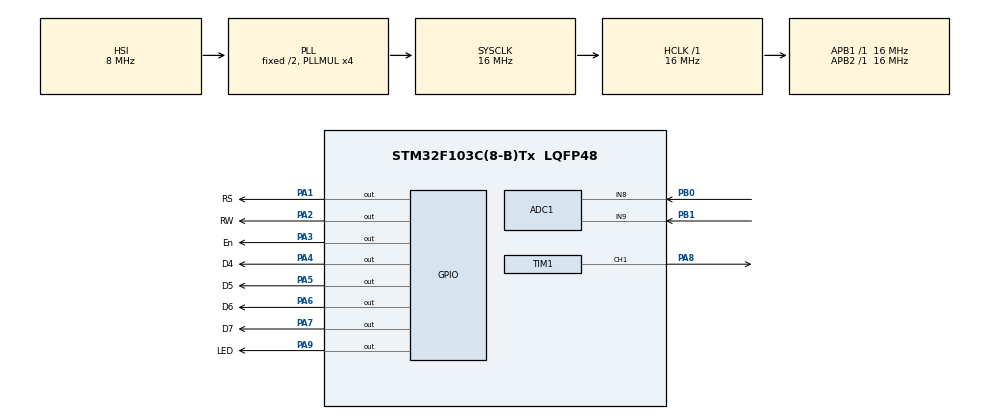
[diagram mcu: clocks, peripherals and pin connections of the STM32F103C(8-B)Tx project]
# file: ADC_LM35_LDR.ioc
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ADC1.Channel-0\#ChannelRegularConversion=ADC_CHANNEL_8
ADC1.Channel-1\#ChannelRegularConversion=ADC_CHANNEL_9
ADC1.ExternalTrigConv=ADC_EXTERNALTRIGCONV_T1_CC1
ADC1.NbrOfConversion=2
ADC1.NbrOfConversionFlag=1
ADC1.Rank-0\#ChannelRegularConversion=1
ADC1.Rank-1\#ChannelRegularConversion=2
ADC1.SamplingTime-0\#ChannelRegularConversion=ADC_SAMPLETIME_71CYCLES_5
ADC1.SamplingTime-1\#ChannelRegularConversion=ADC_SAMPLETIME_239CYCLES_5
ADC1.master=1
Dma.ADC1.0.Direction=DMA_PERIPH_TO_MEMORY
Dma.ADC1.0.Instance=DMA1_Channel1
Dma.ADC1.0.MemDataAlignment=DMA_MDATAALIGN_HALFWORD
Dma.ADC1.0.MemInc=DMA_MINC_ENABLE
Dma.ADC1.0.Mode=DMA_CIRCULAR
Dma.ADC1.0.PeriphDataAlignment=DMA_PDATAALIGN_HALFWORD
Dma.ADC1.0.PeriphInc=DMA_PINC_DISABLE
Dma.ADC1.0.Priority=DMA_PRIORITY_LOW
Dma.Request0=ADC1
Mcu.Family=STM32F1
Mcu.Name=STM32F103C(8-B)Tx
Mcu.Package=LQFP48
NVIC.DMA1_Channel1_IRQn=true\:0\:0\:false\:false\:true\:false\:true\:true
NVIC.PriorityGroup=NVIC_PRIORITYGROUP_4
NVIC.TIM3_IRQn=true\:0\:0\:false\:false\:true\:true\:true\:true
PA1.GPIO_Label=RS
PA1.Signal=GPIO_Output
PA13.Mode=Serial_Wire
PA13.Signal=SYS_JTMS-SWDIO
PA14.Mode=Serial_Wire
PA14.Signal=SYS_JTCK-SWCLK
PA2.GPIO_Label=RW
PA2.Signal=GPIO_Output
PA3.GPIO_Label=En
PA3.Signal=GPIO_Output
PA4.GPIO_Label=D4
PA4.Signal=GPIO_Output
PA5.GPIO_Label=D5
PA5.Signal=GPIO_Output
PA6.GPIO_Label=D6
PA6.Signal=GPIO_Output
PA7.GPIO_Label=D7
PA7.Signal=GPIO_Output
PA8.Signal=S_TIM1_CH1
PA9.GPIO_Label=LED
PA9.Signal=GPIO_Output
PB0.Signal=ADCx_IN8
PB1.Signal=ADCx_IN9
PD0-OSC_IN.Mode=HSE-External-Oscillator
PD0-OSC_IN.Signal=RCC_OSC_IN
PD1-OSC_OUT.Mode=HSE-External-Oscillator
PD1-OSC_OUT.Signal=RCC_OSC_OUT
ProjectManager.HeapSize=0x200
ProjectManager.StackSize=0x400
ProjectManager.TargetToolchain=STM32CubeIDE
RCC.AHBFreq_Value=16000000
RCC.APB1Freq_Value=16000000
RCC.APB1TimFreq_Value=16000000
RCC.APB2Freq_Value=16000000
RCC.APB2TimFreq_Value=16000000
RCC.HCLKFreq_Value=16000000
RCC.PLLMUL=RCC_PLL_MUL4
RCC.SYSCLKFreq_VALUE=16000000
RCC.SYSCLKSource=RCC_SYSCLKSOURCE_PLLCLK
RCC.USBFreq_Value=16000000
SH.ADCx_IN8.0=ADC1_IN8,IN8
SH.ADCx_IN9.0=ADC1_IN9,IN9
SH.S_TIM1_CH1.0=TIM1_CH1,PWM Generation1 CH1
TIM1.Channel-PWM\ Generation1\ CH1=TIM_CHANNEL_1
TIM1.Period=100-1
TIM1.Prescaler=16000-1
TIM1.Pulse-PWM\ Generation1\ CH1=100/2
TIM2.Prescaler=16-1
TIM3.Period=1000-1
TIM3.Prescaler=16000-1
VP_TIM2_VS_ClockSourceINT.Mode=Internal
VP_TIM3_VS_ClockSourceINT.Mode=Internal
board=custom

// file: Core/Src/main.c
/* USER CODE BEGIN Header */
/**
  ******************************************************************************
  * @file           : main.c
  * @brief          : Main program body
  ******************************************************************************
  * @attention
  *
  * Copyright (c) 2025 STMicroelectronics.
  * All rights reserved.
  *
  * This software is licensed under terms that can be found in the LICENSE file
  * in the root directory of this software component.
  * If no LICENSE file comes with this software, it is provided AS-IS.
  *
  ******************************************************************************
  */
/* USER CODE END Header */
#include "main.h"

/* USER CODE BEGIN Includes */
#include <LCD16x2.h>
#include <stdio.h>		//for sprintf function
/* USER CODE END Includes */

ADC_HandleTypeDef hadc1;
DMA_HandleTypeDef hdma_adc1;

TIM_HandleTypeDef htim1;
TIM_HandleTypeDef htim2;
TIM_HandleTypeDef htim3;

/* USER CODE BEGIN PV */
	uint16_t RawValue[2];		//store ADC Raw numbers
	uint16_t ADC_Voltage[2];	//store ADC values converted to voltage
	uint16_t temprature;		//lm35 value in °C
	uint16_t LDR;				//LDR value

	uint8_t flag1sec = 0;		//flag for 1 second elapse

	char buffer[16];			//buffer for sending to LCD
/* USER CODE END PV */

void SystemClock_Config(void);
static void MX_GPIO_Init(void);
static void MX_DMA_Init(void);
static void MX_ADC1_Init(void);
static void MX_TIM1_Init(void);
static void MX_TIM2_Init(void);
static void MX_TIM3_Init(void);

int main(void)
{

  /* MCU Configuration--------------------------------------------------------*/

  /* Reset of all peripherals, Initializes the Flash interface and the Systick. */
  HAL_Init();

  /* Configure the system clock */
  SystemClock_Config();

  /* Initialize all configured peripherals */
  MX_GPIO_Init();
  MX_DMA_Init();
  MX_ADC1_Init();
  MX_TIM1_Init();
  MX_TIM2_Init();
  MX_TIM3_Init();
  /* USER CODE BEGIN 2 */
  LCD_Init();

  HAL_Delay(100);
  /* USER CODE END 2 */

  /* Infinite loop */
  /* USER CODE BEGIN WHILE */
  while (1)
  {
	  if(flag1sec)
	  {
		  sprintf(buffer,"warmth: %d",temprature);
		  LCD_SetCursor(0, 0);
		  LCD_SendStr(buffer);
		  LCD_SetCursor(0, 10);
		  LCD_SendData(223);	//write ° on lcd
		  LCD_SetCursor(0, 11);
		  LCD_SendStr("C");

		  sprintf(buffer,"LDR:    %d  ",LDR);
		  LCD_SetCursor(1, 0);
		  LCD_SendStr(buffer);
		  flag1sec = 0;
	  }

	  if(LDR < 1000)
	  {
		  HAL_GPIO_WritePin(LED_GPIO_Port, LED_Pin, GPIO_PIN_SET);
	  }
	  else
	  {
		  HAL_GPIO_WritePin(LED_GPIO_Port, LED_Pin, GPIO_PIN_RESET);
	  }
    /* USER CODE END WHILE */

  }
}

void SystemClock_Config(void)
{
  RCC_OscInitTypeDef RCC_OscInitStruct = {0};
  RCC_ClkInitTypeDef RCC_ClkInitStruct = {0};
  RCC_PeriphCLKInitTypeDef PeriphClkInit = {0};

  /** Initializes the RCC Oscillators according to the specified parameters
  * in the RCC_OscInitTypeDef structure.
  */
  RCC_OscInitStruct.OscillatorType = RCC_OSCILLATORTYPE_HSI;
  RCC_OscInitStruct.HSIState = RCC_HSI_ON;
  RCC_OscInitStruct.HSICalibrationValue = RCC_HSICALIBRATION_DEFAULT;
  RCC_OscInitStruct.PLL.PLLState = RCC_PLL_ON;
  RCC_OscInitStruct.PLL.PLLSource = RCC_PLLSOURCE_HSI_DIV2;
  RCC_OscInitStruct.PLL.PLLMUL = RCC_PLL_MUL4;
  if (HAL_RCC_OscConfig(&RCC_OscInitStruct) != HAL_OK)
  {
    Error_Handler();
  }

  /** Initializes the CPU, AHB and APB buses clocks
  */
  RCC_ClkInitStruct.ClockType = RCC_CLOCKTYPE_HCLK|RCC_CLOCKTYPE_SYSCLK
                              |RCC_CLOCKTYPE_PCLK1|RCC_CLOCKTYPE_PCLK2;
  RCC_ClkInitStruct.SYSCLKSource = RCC_SYSCLKSOURCE_PLLCLK;
  RCC_ClkInitStruct.AHBCLKDivider = RCC_SYSCLK_DIV1;
  RCC_ClkInitStruct.APB1CLKDivider = RCC_HCLK_DIV1;
  RCC_ClkInitStruct.APB2CLKDivider = RCC_HCLK_DIV1;

  if (HAL_RCC_ClockConfig(&RCC_ClkInitStruct, FLASH_LATENCY_0) != HAL_OK)
  {
    Error_Handler();
  }
  PeriphClkInit.PeriphClockSelection = RCC_PERIPHCLK_ADC;
  PeriphClkInit.AdcClockSelection = RCC_ADCPCLK2_DIV2;
  if (HAL_RCCEx_PeriphCLKConfig(&PeriphClkInit) != HAL_OK)
  {
    Error_Handler();
  }
}

static void MX_ADC1_Init(void)
{

  ADC_ChannelConfTypeDef sConfig = {0};

  /** Common config
  */
  hadc1.Instance = ADC1;
  hadc1.Init.ScanConvMode = ADC_SCAN_ENABLE;
  hadc1.Init.ContinuousConvMode = DISABLE;
  hadc1.Init.DiscontinuousConvMode = DISABLE;
  hadc1.Init.ExternalTrigConv = ADC_EXTERNALTRIGCONV_T1_CC1;
  hadc1.Init.DataAlign = ADC_DATAALIGN_RIGHT;
  hadc1.Init.NbrOfConversion = 2;
  if (HAL_ADC_Init(&hadc1) != HAL_OK)
  {
    Error_Handler();
  }

  /** Configure Regular Channel
  */
  sConfig.Channel = ADC_CHANNEL_8;
  sConfig.Rank = ADC_REGULAR_RANK_1;
  sConfig.SamplingTime = ADC_SAMPLETIME_71CYCLES_5;
  if (HAL_ADC_ConfigChannel(&hadc1, &sConfig) != HAL_OK)
  {
    Error_Handler();
  }

  /** Configure Regular Channel
  */
  sConfig.Channel = ADC_CHANNEL_9;
  sConfig.Rank = ADC_REGULAR_RANK_2;
  sConfig.SamplingTime = ADC_SAMPLETIME_239CYCLES_5;
  if (HAL_ADC_ConfigChannel(&hadc1, &sConfig) != HAL_OK)
  {
    Error_Handler();
  }
  /* USER CODE BEGIN ADC1_Init 2 */
  HAL_ADC_Start_DMA(&hadc1, (uint32_t *)RawValue, 2);
  /* USER CODE END ADC1_Init 2 */

}

static void MX_TIM1_Init(void)
{

  TIM_MasterConfigTypeDef sMasterConfig = {0};
  TIM_OC_InitTypeDef sConfigOC = {0};
  TIM_BreakDeadTimeConfigTypeDef sBreakDeadTimeConfig = {0};

  htim1.Instance = TIM1;
  htim1.Init.Prescaler = 16000-1;
  htim1.Init.CounterMode = TIM_COUNTERMODE_UP;
  htim1.Init.Period = 100-1;
  htim1.Init.ClockDivision = TIM_CLOCKDIVISION_DIV1;
  htim1.Init.RepetitionCounter = 0;
  htim1.Init.AutoReloadPreload = TIM_AUTORELOAD_PRELOAD_DISABLE;
  if (HAL_TIM_PWM_Init(&htim1) != HAL_OK)
  {
    Error_Handler();
  }
  sMasterConfig.MasterOutputTrigger = TIM_TRGO_RESET;
  sMasterConfig.MasterSlaveMode = TIM_MASTERSLAVEMODE_DISABLE;
  if (HAL_TIMEx_MasterConfigSynchronization(&htim1, &sMasterConfig) != HAL_OK)
  {
    Error_Handler();
  }
  sConfigOC.OCMode = TIM_OCMODE_PWM1;
  sConfigOC.Pulse = 100/2;
  sConfigOC.OCPolarity = TIM_OCPOLARITY_HIGH;
  sConfigOC.OCNPolarity = TIM_OCNPOLARITY_HIGH;
  sConfigOC.OCFastMode = TIM_OCFAST_DISABLE;
  sConfigOC.OCIdleState = TIM_OCIDLESTATE_RESET;
  sConfigOC.OCNIdleState = TIM_OCNIDLESTATE_RESET;
  if (HAL_TIM_PWM_ConfigChannel(&htim1, &sConfigOC, TIM_CHANNEL_1) != HAL_OK)
  {
    Error_Handler();
  }
  sBreakDeadTimeConfig.OffStateRunMode = TIM_OSSR_DISABLE;
  sBreakDeadTimeConfig.OffStateIDLEMode = TIM_OSSI_DISABLE;
  sBreakDeadTimeConfig.LockLevel = TIM_LOCKLEVEL_OFF;
  sBreakDeadTimeConfig.DeadTime = 0;
  sBreakDeadTimeConfig.BreakState = TIM_BREAK_DISABLE;
  sBreakDeadTimeConfig.BreakPolarity = TIM_BREAKPOLARITY_HIGH;
  sBreakDeadTimeConfig.AutomaticOutput = TIM_AUTOMATICOUTPUT_DISABLE;
  if (HAL_TIMEx_ConfigBreakDeadTime(&htim1, &sBreakDeadTimeConfig) != HAL_OK)
  {
    Error_Handler();
  }
  /* USER CODE BEGIN TIM1_Init 2 */
  HAL_TIM_PWM_Start(&htim1, TIM_CHANNEL_1);		//ADC trigger
  /* USER CODE END TIM1_Init 2 */
  HAL_TIM_MspPostInit(&htim1);

}

static void MX_TIM2_Init(void)
{

  TIM_ClockConfigTypeDef sClockSourceConfig = {0};
  TIM_MasterConfigTypeDef sMasterConfig = {0};

  htim2.Instance = TIM2;
  htim2.Init.Prescaler = 16-1;
  htim2.Init.CounterMode = TIM_COUNTERMODE_UP;
  htim2.Init.Period = 65535;
  htim2.Init.ClockDivision = TIM_CLOCKDIVISION_DIV1;
  htim2.Init.AutoReloadPreload = TIM_AUTORELOAD_PRELOAD_DISABLE;
  if (HAL_TIM_Base_Init(&htim2) != HAL_OK)
  {
    Error_Handler();
  }
  sClockSourceConfig.ClockSource = TIM_CLOCKSOURCE_INTERNAL;
  if (HAL_TIM_ConfigClockSource(&htim2, &sClockSourceConfig) != HAL_OK)
  {
    Error_Handler();
  }
  sMasterConfig.MasterOutputTrigger = TIM_TRGO_RESET;
  sMasterConfig.MasterSlaveMode = TIM_MASTERSLAVEMODE_DISABLE;
  if (HAL_TIMEx_MasterConfigSynchronization(&htim2, &sMasterConfig) != HAL_OK)
  {
    Error_Handler();
  }
  /* USER CODE BEGIN TIM2_Init 2 */
  HAL_TIM_Base_Start(&htim2);	//create delay in us
  /* USER CODE END TIM2_Init 2 */

}

static void MX_TIM3_Init(void)
{

  TIM_ClockConfigTypeDef sClockSourceConfig = {0};
  TIM_MasterConfigTypeDef sMasterConfig = {0};

  htim3.Instance = TIM3;
  htim3.Init.Prescaler = 16000-1;
  htim3.Init.CounterMode = TIM_COUNTERMODE_UP;
  htim3.Init.Period = 1000-1;
  htim3.Init.ClockDivision = TIM_CLOCKDIVISION_DIV1;
  htim3.Init.AutoReloadPreload = TIM_AUTORELOAD_PRELOAD_DISABLE;
  if (HAL_TIM_Base_Init(&htim3) != HAL_OK)
  {
    Error_Handler();
  }
  sClockSourceConfig.ClockSource = TIM_CLOCKSOURCE_INTERNAL;
  if (HAL_TIM_ConfigClockSource(&htim3, &sClockSourceConfig) != HAL_OK)
  {
    Error_Handler();
  }
  sMasterConfig.MasterOutputTrigger = TIM_TRGO_RESET;
  sMasterConfig.MasterSlaveMode = TIM_MASTERSLAVEMODE_DISABLE;
  if (HAL_TIMEx_MasterConfigSynchronization(&htim3, &sMasterConfig) != HAL_OK)
  {
    Error_Handler();
  }
  /* USER CODE BEGIN TIM3_Init 2 */
  HAL_TIM_Base_Start_IT(&htim3);		// 1 second timer
  /* USER CODE END TIM3_Init 2 */

}

static void MX_DMA_Init(void)
{

  /* DMA controller clock enable */
  __HAL_RCC_DMA1_CLK_ENABLE();

  /* DMA interrupt init */
  /* DMA1_Channel1_IRQn interrupt configuration */
  HAL_NVIC_SetPriority(DMA1_Channel1_IRQn, 0, 0);
  HAL_NVIC_EnableIRQ(DMA1_Channel1_IRQn);

}

static void MX_GPIO_Init(void)
{
  GPIO_InitTypeDef GPIO_InitStruct = {0};

  /* GPIO Ports Clock Enable */
  __HAL_RCC_GPIOD_CLK_ENABLE();
  __HAL_RCC_GPIOA_CLK_ENABLE();
  __HAL_RCC_GPIOB_CLK_ENABLE();

  /*Configure GPIO pin Output Level */
  HAL_GPIO_WritePin(GPIOA, RS_Pin|RW_Pin|En_Pin|D4_Pin
                          |D5_Pin|D6_Pin|D7_Pin|LED_Pin, GPIO_PIN_RESET);

  /*Configure GPIO pins : RS_Pin RW_Pin En_Pin D4_Pin
                           D5_Pin D6_Pin D7_Pin LED_Pin */
  GPIO_InitStruct.Pin = RS_Pin|RW_Pin|En_Pin|D4_Pin
                          |D5_Pin|D6_Pin|D7_Pin|LED_Pin;
  GPIO_InitStruct.Mode = GPIO_MODE_OUTPUT_PP;
  GPIO_InitStruct.Pull = GPIO_NOPULL;
  GPIO_InitStruct.Speed = GPIO_SPEED_FREQ_LOW;
  HAL_GPIO_Init(GPIOA, &GPIO_InitStruct);

}

/* USER CODE BEGIN 4 */

//-------ADC callBack Routine-------------------------
void HAL_ADC_ConvCpltCallback(ADC_HandleTypeDef* hadc)
{
	for(int i=0;i<=1;i++)
	{
		ADC_Voltage[i] = RawValue[i] * 3300 / 4095;		//Vref = 3300 mV, resolution = 12 bits
	}

	temprature = ADC_Voltage[0] / 10;	//lm35: 10mV/°C
	LDR		   = ADC_Voltage[1];		//LDR value
}

//-------Timer callBack Routine------------------------
void HAL_TIM_PeriodElapsedCallback(TIM_HandleTypeDef *htim)
{
	flag1sec = 1;
}
/* USER CODE END 4 */

void Error_Handler(void)
{
  __disable_irq();
  while (1)
  {
  }
}
